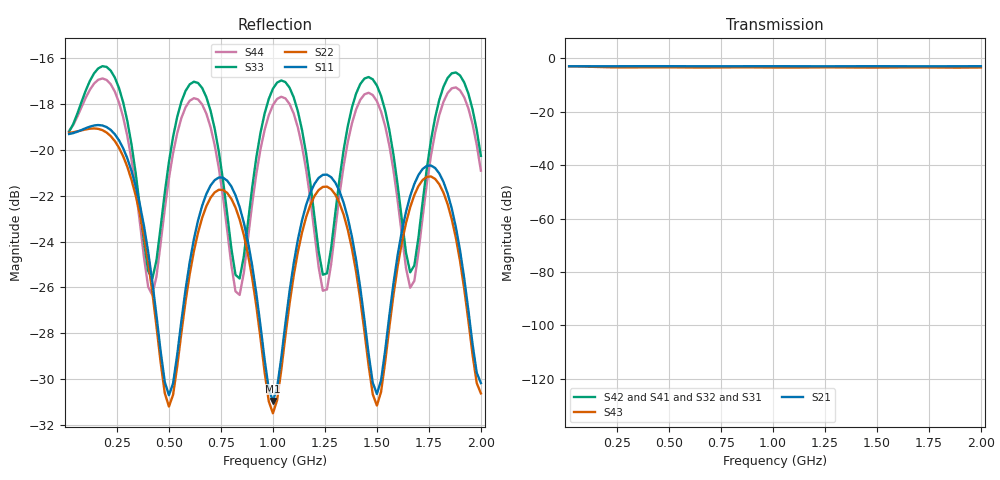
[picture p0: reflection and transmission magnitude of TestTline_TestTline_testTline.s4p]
# MHz MA S R 50.0
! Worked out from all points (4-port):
!   100 points, 20 MHz to 2 GHz, reference 50 ohm
!   strongest paths, dB at 20 MHz, 520 MHz, 1.02 GHz, 1.52 GHz, 2 GHz:
!     S21: -3.0, -2.9, -2.9, -2.9, -2.9
!     S43: -3.0, -3.4, -3.4, -3.4, -3.4
!     S42: -, -, -, -, -
!     S41: -, -, -, -, -
!     S32: -, -, -, -, -
!     S31: -, -, -, -, -
!   lowest |S11| = -30.9 dB at 1 GHz (marker M1), VSWR 1.06, Z = 47.5 + j1.14 ohm
!   |S11| at or under -10 dB: start of sweep to end of sweep
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20  0.1083 178.5  0.7111 -7.2  2.466e-12 -97.2  4.631e-13 -92.9
    0.7111 -7.2  0.1089 178.8  2.003e-12 -97.8  9.071e-13 -95.5
    2.608e-12 -96.2  3.186e-13 -97.5  0.1096 161.4  0.7106 -9.0
    2.494e-12 -97.2  4.087e-13 -98.1  0.7106 -9.0  0.11 161.9
240  0.1081 148.9  0.7124 -86.3  4.783e-14 -177.2  6.816e-14 -25.9
     0.7124 -86.3  0.1045 154.9  2.931e-13 -9.7  1.852e-13 179.2
     1.156e-13 170.7  1.747e-13 -21.3  0.1437 28.1  0.679 -105.1
     3.153e-13 -7.6  2.026e-13 -174.8  0.679 -105.1  0.1339 24.5
500  0.02918 154.6  0.7137 179.9  2.848e-14 -139.8  2.027e-13 -111.6
     0.7137 179.9  0.02757 169.9  9.628e-15 119.7  2.111e-14 39.3
     1.932e-14 -175.4  3.591e-13 -110.2  0.09408 50.0  0.6793 143.2
     1.102e-13 78.9  9.513e-15 -37.5  0.6793 143.2  0.08671 39.3
1000  0.02836 154.9  0.7134 -0.1  1.507e-15 69.7  3.444e-14 36.5
      0.7134 -0.1  0.02665 -172.8  4.5e-14 31.3  4.793e-15 114.0
      4.38e-15 -178.6  7.665e-14 50.3  0.1359 30.7  0.6742 -72.6
      6.906e-14 37.7  7.039e-15 143.8  0.6742 -72.6  0.1252 8.0
1240  0.0882 155.2  0.711 -86.5  3.081e-15 78.4  2.963e-14 -11.0
      0.711 -86.5  0.08302 -164.9  2.749e-14 -99.8  9.875e-16 -67.3
      5.234e-15 -172.3  5.627e-14 -26.4  0.05344 14.1  0.6781 -176.0
      2.687e-14 -110.4  3.434e-15 10.5  0.6781 -176.0  0.0493 -14.2
1500  0.02936 150.9  0.7131 179.8  7.37e-15 15.4  3.577e-14 27.2
      0.7131 179.8  0.02771 -161.5  4.191e-14 -86.7  4.85e-15 154.9
      3.892e-15 98.0  3.359e-14 16.8  0.1381 10.9  0.6726 71.5
      5.891e-14 -113.1  4.161e-15 162.2  0.6726 71.5  0.1276 -23.1
2000  0.03102 146.4  0.7128 -0.5  3.254e-15 77.6  1.535e-14 11.4
      0.7128 -0.5  0.02946 -152.4  4.064e-14 126.8  3.295e-15 55.0
      3.477e-15 -158.7  3.577e-14 12.5  0.09699 -1.2  0.675 -144.7
      4.506e-14 139.7  5.236e-15 22.5  0.675 -144.7  0.09009 -45.8
